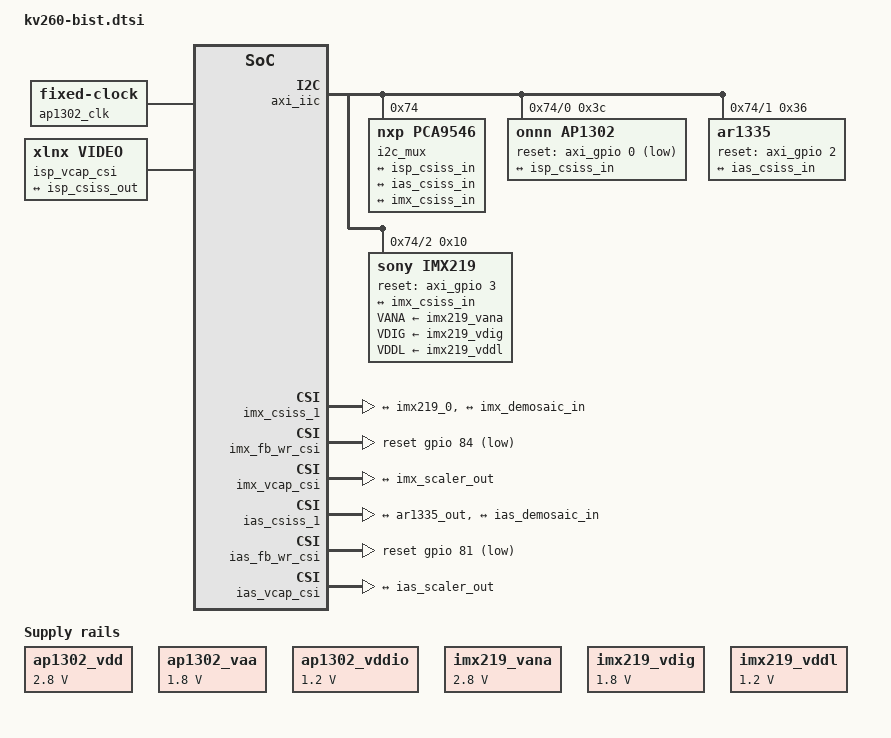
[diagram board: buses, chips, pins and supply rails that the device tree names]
// SPDX-License-Identifier: GPL-2.0
/*
 * dts file for Xilinx KV260 bist
 *
 * (C) Copyright 2022 - 2023, Advanced Micro Devices, Inc.
 *
 */

/dts-v1/;
/plugin/;

&fpga_full {
	#address-cells = <2>;
	#size-cells = <2>;
	firmware-name = "kv260-bist.bit.bin";
	resets = <&zynqmp_reset 116>, <&zynqmp_reset 117>, <&zynqmp_reset 118>, <&zynqmp_reset 119>;
};

&amba {
	afi0: afi0 {
		compatible = "xlnx,afi-fpga";
		config-afi = <0 0>, <1 0>, <2 0>, <3 0>, <4 0>, <5 0>, <6 0>, <7 0>, <8 0>, <9 0>, <10 0>, <11 0>, <12 0>, <13 0>, <14 0x0>, <15 0x000>;
	};

	clocking0: clocking0 {
		#clock-cells = <0>;
		assigned-clock-rates = <99999001>;
		assigned-clocks = <&zynqmp_clk 71>;
		clock-output-names = "fabric_clk";
		clocks = <&zynqmp_clk 71>;
		compatible = "xlnx,fclk";
	};

	clocking1: clocking1 {
		#clock-cells = <0>;
		assigned-clock-rates = <99999001>;
		assigned-clocks = <&zynqmp_clk 72>;
		clock-output-names = "fabric_clk";
		clocks = <&zynqmp_clk 72>;
		compatible = "xlnx,fclk";
	};

	/* fpga clocks */
	misc_clk_0: misc_clk_0 {
		#clock-cells = <0x0>;
		clock-frequency = <99999000>;
		compatible = "fixed-clock";
	};

	misc_clk_1: misc_clk_1 {
		#clock-cells = <0x0>;
		clock-frequency = <199998000>;
		compatible = "fixed-clock";
	};

	misc_clk_2: misc_clk_2 {
		#clock-cells = <0x0>;
		clock-frequency = <299997000>;
		compatible = "fixed-clock";
	};

	misc_clk_4: misc_clk_4 {
		#clock-cells = <0x0>;
		clock-frequency = <24000000>;
		compatible = "fixed-clock";
	};

	misc_clk_5: misc_clk_5 {
		#clock-cells = <0x0>;
		clock-frequency = <49999500>;
		compatible = "fixed-clock";
	};

	misc_clk_6: misc_clk_6 {
		#clock-cells = <0x0>;
		clock-frequency = <18432019>;
		compatible = "fixed-clock";
	};

	axi_gpio: reset_gpio@80080000 {
		#gpio-cells = <2>;
		compatible = "xlnx,xps-gpio-1.00.a";
		clocks = <&misc_clk_0>;
		gpio-controller ;
		reg = < 0x0 0x80080000 0x0 0x10000 >;
		xlnx,all-inputs = <0x0>;
		xlnx,all-inputs-2 = <0x0>;
		xlnx,all-outputs = <0x1>;
		xlnx,all-outputs-2 = <0x0>;
		xlnx,dout-default = <0x0>;
		xlnx,dout-default-2 = <0x0>;
		xlnx,gpio-width = <0x4>;
		xlnx,gpio2-width = <0x20>;
		xlnx,interrupt-present = <0x0>;
		xlnx,is-dual = <0x0>;
		xlnx,tri-default = <0xffffffff>;
		xlnx,tri-default-2 = <0xffffffff>;
	};
	
	axi_gpio_pmod: gpio@80020000 {
		#gpio-cells = <2>;
		compatible = "xlnx,xps-gpio-1.00.a";
		clocks = <&misc_clk_0>;
		gpio-controller ;
		reg = < 0x0 0x80020000 0x0 0x10000 >;
		xlnx,all-inputs = <0x0>;
		xlnx,all-inputs-2 = <0x0>;
		xlnx,all-outputs = <0x0>;
		xlnx,all-outputs-2 = <0x0>;
		xlnx,dout-default = <0x0>;
		xlnx,dout-default-2 = <0x0>;
		xlnx,gpio-width = <0x8>;
		xlnx,gpio2-width = <0x20>;
		xlnx,interrupt-present = <0x0>;
		xlnx,is-dual = <0x0>;
		xlnx,tri-default = <0xffffffff>;
		xlnx,tri-default-2 = <0xffffffff>;
	};

	/* ar1335 isp mipi rx pipeline */
	ap1302_clk: sensor_clk {
		#clock-cells = <0x0>;
		compatible = "fixed-clock";
		clock-frequency = <0x48000000>;
	};

	ap1302_vdd: fixedregulator@0 {
		compatible = "regulator-fixed";
		regulator-name = "ap1302_vdd";
		regulator-min-microvolt = <2800000>;
		regulator-max-microvolt = <2800000>;
		enable-active-high;
	};

	ap1302_vaa: fixedregulator@1 {
		compatible = "regulator-fixed";
		regulator-name = "ap1302_vaa";
		regulator-min-microvolt = <1800000>;
		regulator-max-microvolt = <1800000>;
	};

	ap1302_vddio: fixedregulator@2 {
		compatible = "regulator-fixed";
		regulator-name = "ap1302_vddio";
		regulator-min-microvolt = <1200000>;
		regulator-max-microvolt = <1200000>;
	};

	imx219_vana: imxfixedregulator@0 {
		compatible = "regulator-fixed";
		regulator-name = "imx219_vana";
		regulator-min-microvolt = <2800000>;
		regulator-max-microvolt = <2800000>;
		enable-active-high;
	};

	imx219_vdig: imxfixedregulator@1 {
		compatible = "regulator-fixed";
		regulator-name = "imx219_vdig";
		regulator-min-microvolt = <1800000>;
		regulator-max-microvolt = <1800000>;
	};

	imx219_vddl: imxfixedregulator@2 {
		compatible = "regulator-fixed";
		regulator-name = "imx219_vddl";
		regulator-min-microvolt = <1200000>;
		regulator-max-microvolt = <1200000>;
	};

	axi_iic: i2c@80030000 {
		#address-cells = <1>;
		#size-cells = <0>;
		clock-names = "s_axi_aclk";
		clocks = <&misc_clk_0>;
		compatible = "xlnx,axi-iic-2.1", "xlnx,xps-iic-2.00.a";
		interrupt-names = "iic2intc_irpt";
		interrupt-parent = <&gic>;
		interrupts = <0 107 4>;
		reg = <0x0 0x80030000 0x0 0x10000>;

		i2c_mux: i2c-mux@74 {
			compatible = "nxp,pca9546";
			#address-cells = <1>;
			#size-cells = <0>;
			reg = <0x74>;
			i2c@0 {
				#address-cells = <1>;
				#size-cells = <0>;
				reg = <0>;
				ap1302: isp@3c {
					compatible = "onnn,ap1302";
					reg = <0x3c>;
					#address-cells = <1>;
					#size-cells = <0>;
					reset-gpios = <&axi_gpio 0 1>;
					clocks = <&ap1302_clk>;
					sensors {
						#address-cells = <1>;
						#size-cells = <0>;
						onnn,model = "onnn,ar1335";
						sensor@0 {
							reg = <0>;
							vdd-supply = <&ap1302_vdd>;
							vaa-supply = <&ap1302_vaa>;
							vddio-supply = <&ap1302_vddio>;
						};
					};
					ports {
						#address-cells = <1>;
						#size-cells = <0>;
						port@0 {
							reg = <2>;
							isp_out: endpoint {
								remote-endpoint = <&isp_csiss_in>;
								data-lanes = <1 2 3 4>;
							};
						};
					};
				};
			};
			i2c@1 {
				#address-cells = <1>;
				#size-cells = <0>;
				reg = <1>;
				ar1335: sensor@36 {
					compatible = "ar1335";
					reg = <0x36>;
					#address-cells = <1>;
					#size-cells = <0>;
					reset-gpios = <&axi_gpio 2 0>;
					port {
						clock-lanes = <0>;
						data-lanes = <1 2 3 4>;
						ar1335_out: endpoint {
							remote-endpoint = <&ias_csiss_in>;
						};
					};
				};
			};
			i2c@2 {
				#address-cells = <1>;
				#size-cells = <0>;
				reg = <2>;
				imx219: sensor@10 {
					compatible = "sony,imx219";
					reg = <0x10>;
					clocks = <&misc_clk_4>;
					reset-gpios = <&axi_gpio 3 0>;
					VANA-supply = <&imx219_vana>;   /* 2.8v */
					VDIG-supply = <&imx219_vdig>;   /* 1.8v */
					VDDL-supply = <&imx219_vddl>;   /* 1.2v */
					port {
						imx219_0: endpoint {
							remote-endpoint = <&imx_csiss_in>;
							data-lanes = <1 2>;
							link-frequencies = /bits/ 64 <456000000>;
						};
					};
				};
			};
		};
	};

	isp_csiss: csiss@80000000 {
		compatible = "xlnx,mipi-csi2-rx-subsystem-5.0";
		reg = <0x0 0x80000000 0x0 0x10000>;
		clock-names = "lite_aclk", "dphy_clk_200M", "video_aclk";
		clocks = <&misc_clk_0>, <&misc_clk_1>, <&misc_clk_2>;
		interrupt-parent = <&gic>;
		interrupts = <0 104 4>;
		xlnx,csi-pxl-format = <0x18>;
		xlnx,axis-tdata-width = <32>;
		xlnx,max-lanes = <4>;
		xlnx,en-active-lanes;
		xlnx,vc = <4>;
		xlnx,ppc = <2>;
		xlnx,vfb;

		ports {
			#address-cells = <0x1>;
			#size-cells = <0x0>;

			port@1 {
				reg = <0x1>;
				xlnx,video-format = <0x3>;
				xlnx,video-width = <0x8>;

				isp_csiss_out: endpoint {
					remote-endpoint = <&isp_vcap_csi_in>;
				};
			};
			port@0 {
				reg = <0x0>;
				xlnx,video-format = <0x3>;
				xlnx,video-width = <0x8>;

				isp_csiss_in: endpoint {
					data-lanes = <1 2 3 4>;
					remote-endpoint = <&isp_out>;
				};
			};
		};
	};

	isp_fb_wr_csi: fb_wr@b0010000 {
		compatible = "xlnx,axi-frmbuf-wr-v2.1";
		reg = <0x0 0xb0010000 0x0 0x10000>;
		#dma-cells = <1>;
		interrupt-parent = <&gic>;
		interrupts = <0 105 4>;
		xlnx,vid-formats = "nv12";
		reset-gpios = <&gpio 78 1>;
		xlnx,dma-addr-width = <32>;
		xlnx,pixels-per-clock = <2>;
		xlnx,max-width = <3840>;
		xlnx,max-height = <2160>;
		clocks = <&misc_clk_2>;
		clock-names = "ap_clk";
	};

	isp_vcap_csi {
		compatible = "xlnx,video";
		dmas = <&isp_fb_wr_csi 0>;
		dma-names = "port0";

		ports {
			#address-cells = <1>;
			#size-cells = <0>;

			port@0 {
				reg = <0>;
				direction = "input";

				isp_vcap_csi_in: endpoint {
					remote-endpoint = <&isp_csiss_out>;
				};
			};
		};
	};

	/* vcu encode/decode */
	vcu: vcu@80100000 {
		#address-cells = <2>;
		#clock-cells = <1>;
		#size-cells = <2>;
		clock-names = "pll_ref", "aclk", "vcu_core_enc", "vcu_mcu_enc", "vcu_core_dec", "vcu_mcu_dec";
		clocks = <&misc_clk_5>, <&misc_clk_0>, <&vcu 0>, <&vcu 1>, <&vcu 2>, <&vcu 3>;
		compatible = "xlnx,vcu-1.2", "xlnx,vcu";
		interrupt-names = "vcu_host_interrupt";
		interrupt-parent = <&gic>;
		interrupts = <0 106 4>;
		ranges;
		reg = <0x0 0x80140000 0x0 0x1000>, <0x0 0x80141000 0x0 0x1000>;
		reg-names = "vcu_slcr", "logicore";
		reset-gpios = <&gpio 85 0>;
		xlnx,skip-isolation;

		al5e: al5e@80100000 {
			compatible = "al,al5e-1.2", "al,al5e";
			interrupt-parent = <&gic>;
			interrupts = <0 106 4>;
			reg = <0x0 0x80100000 0x0 0x10000>;
		};

		al5d: al5d@80120000 {
			compatible = "al,al5d-1.2", "al,al5d";
			interrupt-parent = <&gic>;
			interrupts = <0 106 4>;
			reg = <0x0 0x80120000 0x0 0x10000>;
		};
	};

	imx_csiss_1: csiss@80050000 {
		compatible = "xlnx,mipi-csi2-rx-subsystem-5.0";
		reg = <0x0 0x80050000 0x0 0x10000>;
		clock-names = "lite_aclk", "dphy_clk_200M", "video_aclk";
		clocks = <&misc_clk_0>, <&misc_clk_1>, <&misc_clk_2>;
		interrupt-parent = <&gic>;
		interrupts = <0 92 4>;
		xlnx,csi-pxl-format = <0x2b>;
		xlnx,axis-tdata-width = <32>;
		xlnx,max-lanes = <2>;
		xlnx,en-active-lanes;
		xlnx,vc = <4>;
		xlnx,ppc = <1>;
		xlnx,vfb;

		ports {
			#address-cells = <1>;
			#size-cells = <0>;

			port@0 {
				reg = <0>;
				xlnx,video-format = <0xc>;
				xlnx,video-width = <8>;
				xlnx,cfa-pattern = "rggb";
				
				imx_csiss_in: endpoint {
					data-lanes = <1 2>;
					remote-endpoint = <&imx219_0>;
				};
			};
			port@1 {
				reg = <1>;
				xlnx,video-format = <0xc>;
				xlnx,video-width = <8>;
				xlnx,cfa-pattern = "rggb";

				imx_csiss_out: endpoint {
					remote-endpoint = <&imx_demosaic_in>;
				};
			};
		};
	};

	imx_v_demosaic_0: v_demosaic@b0030000 {
		compatible = "xlnx,v-demosaic";
		reg = <0x0 0xb0030000 0x0 0x10000>;
		clocks = <&misc_clk_2>;
		reset-gpios = <&gpio 82 1>;
		xlnx,max-height = <1080>;
		xlnx,max-width = <1920>;

		ports {
			#address-cells = <1>;
			#size-cells = <0>;

			port@0 {
				reg = <0>;
				xlnx,video-width = <8>;
				xlnx,cfa-pattern = "rggb";

				imx_demosaic_in: endpoint {
					remote-endpoint = <&imx_csiss_out>;
				};
			};

			port@1 {
				reg = <1>;
				xlnx,video-width = <8>;

				imx_demosaic_out: endpoint {
					remote-endpoint = <&imx_scaler_in>;
				};
			};
		};
	};

	imx_scaler_1: scaler@b0080000 {
		compatible = "xlnx,v-vpss-scaler-2.2";
		reg = <0x0 0xb0080000 0x0 0x40000>;
		clock-names = "aclk_axis", "aclk_ctrl";
		clocks = <&misc_clk_2>, <&misc_clk_2>;
		xlnx,num-hori-taps = <6>;
		xlnx,num-vert-taps = <6>;
		xlnx,pix-per-clk = <1>;
		reset-gpios = <&gpio 83 1>;
		xlnx,max-height = <1080>;
		xlnx,max-width = <1920>;

		ports {
			#address-cells = <1>;
			#size-cells = <0>;

			port@0 {
				reg = <0>;
				xlnx,video-format = <0x2>;
				xlnx,video-width = <8>;

				imx_scaler_in: endpoint {
					remote-endpoint = <&imx_demosaic_out>;
				};
			};

			port@1 {
				reg = <1>;
				xlnx,video-format = <0x3>;
				xlnx,video-width = <8>;

				imx_scaler_out: endpoint {
					remote-endpoint = <&imx_vcap_csi_in>;
				};
			};
		};
	};

	imx_fb_wr_csi: fb_wr@b00c0000 {
		compatible = "xlnx,axi-frmbuf-wr-v2.1";
		reg = <0x0 0xb00c0000 0x0 0x10000>;
		#dma-cells = <1>;
		interrupt-parent = <&gic>;
		interrupts = <0 93 4>;
		reset-gpios = <&gpio 84 1>;
		xlnx,vid-formats = "nv12";
		xlnx,dma-addr-width = <32>;
		xlnx,pixels-per-clock = <1>;
		xlnx,max-height = <1080>;
		xlnx,max-width = <1920>;
		clocks = <&misc_clk_2>;
		clock-names = "ap_clk";
	};

	imx_vcap_csi {
		compatible = "xlnx,video";
		dmas = <&imx_fb_wr_csi 0>;
		dma-names = "port0";

		ports {
			#address-cells = <1>;
			#size-cells = <0>;

			port@0 {
				reg = <0>;
				direction = "input";

				imx_vcap_csi_in: endpoint {
					remote-endpoint = <&imx_scaler_out>;
				};
			};
		};
	};

	ias_csiss_1: csiss@80010000 {
		compatible = "xlnx,mipi-csi2-rx-subsystem-5.0";
		reg = <0x0 0x80010000 0x0 0x10000>;
		clock-names = "lite_aclk", "dphy_clk_200M", "video_aclk";
		clocks = <&misc_clk_0>, <&misc_clk_1>, <&misc_clk_2>;
		interrupt-parent = <&gic>;
		interrupts = <0 89 4>;
		xlnx,csi-pxl-format = <0x2b>;
		xlnx,axis-tdata-width = <32>;
		xlnx,max-lanes = <4>;
		xlnx,en-active-lanes;
		xlnx,vc = <4>;
		xlnx,ppc = <2>;
		xlnx,vfb;
		ports {
			#address-cells = <1>;
			#size-cells = <0>;
			port@0 {
				reg = <0>;
				xlnx,video-format = <0xc>;
				xlnx,video-width = <8>;
				xlnx,cfa-pattern = "rggb";
				ias_csiss_in: endpoint {
					data-lanes = <1 2 3 4>;
					remote-endpoint = <&ar1335_out>;
				};
			};
			port@1 {
				reg = <1>;
				xlnx,video-format = <0xc>;
				xlnx,video-width = <8>;
				xlnx,cfa-pattern = "rggb";
				ias_csiss_out: endpoint {
					remote-endpoint = <&ias_demosaic_in>;
				};
			};
		};
	};
	
	ias_v_demosaic_0: v_demosaic@b0000000 {
		compatible = "xlnx,v-demosaic";
		reg = <0x0 0xb0000000 0x0 0x10000>;
		clocks = <&misc_clk_2>;
		reset-gpios = <&gpio 79 1>;
		xlnx,max-height = <2160>;
		xlnx,max-width = <3840>;
		ports {
			#address-cells = <1>;
			#size-cells = <0>;
			port@0 {
				reg = <0>;
				xlnx,video-width = <8>;
				xlnx,cfa-pattern = "rggb";
				ias_demosaic_in: endpoint {
					remote-endpoint = <&ias_csiss_out>;
				};
			};
			port@1 {
				reg = <1>;
				xlnx,video-width = <8>;
				ias_demosaic_out: endpoint {
					remote-endpoint = <&ias_scaler_in>;
				};
			};
		};
	};
	
	ias_scaler_1: scaler@b0040000 {
		compatible = "xlnx,v-vpss-scaler-2.2";
		reg = <0x0 0xb0040000 0x0 0x40000>;
		clock-names = "aclk_axis", "aclk_ctrl";
		clocks = <&misc_clk_2>, <&misc_clk_2>;
		xlnx,num-hori-taps = <6>;
		xlnx,num-vert-taps = <6>;
		xlnx,pix-per-clk = <2>;
		reset-gpios = <&gpio 80 1>;
		xlnx,max-height = <2160>;
		xlnx,max-width = <3840>;
		ports {
			#address-cells = <1>;
			#size-cells = <0>;
			port@0 {
				reg = <0>;
				xlnx,video-format = <0x2>;
				xlnx,video-width = <8>;
				ias_scaler_in: endpoint {
					remote-endpoint = <&ias_demosaic_out>;
				};
			};
			port@1 {
				reg = <1>;
				xlnx,video-format = <0x3>;
				xlnx,video-width = <8>;
				ias_scaler_out: endpoint {
					remote-endpoint = <&ias_vcap_csi_in>;
				};
			};
		};
	};

	ias_fb_wr_csi: fb_wr@b0020000 {
		compatible = "xlnx,axi-frmbuf-wr-v2.1";
		reg = <0x0 0xb0020000 0x0 0x10000>;
		#dma-cells = <1>;
		interrupt-parent = <&gic>;
		interrupts = <0 90 4>;
		reset-gpios = <&gpio 81 1>;
		xlnx,vid-formats = "nv12";
		xlnx,dma-addr-width = <32>;
		xlnx,pixels-per-clock = <2>;
		xlnx,max-height = <2160>;
		xlnx,max-width = <3840>;
		clocks = <&misc_clk_2>;
		clock-names = "ap_clk";
	};

	ias_vcap_csi {
		compatible = "xlnx,video";
		dmas = <&ias_fb_wr_csi 0>;
		dma-names = "port0";
		ports {
			#address-cells = <1>;
			#size-cells = <0>;
			port@0 {
				reg = <0>;
				direction = "input";
				ias_vcap_csi_in: endpoint {
					remote-endpoint = <&ias_scaler_out>;
				};
			};
		};
	};
};
